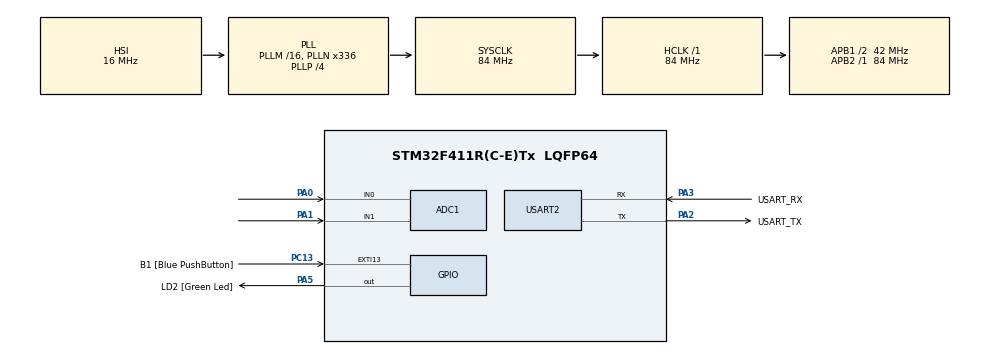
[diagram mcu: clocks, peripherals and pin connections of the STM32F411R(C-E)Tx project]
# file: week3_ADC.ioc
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ADC1.Channel-1\#ChannelRegularConversion=ADC_CHANNEL_0
ADC1.NbrOfConversionFlag=1
ADC1.Rank-1\#ChannelRegularConversion=1
ADC1.SamplingTime-1\#ChannelRegularConversion=ADC_SAMPLETIME_3CYCLES
ADC1.master=1
Mcu.Family=STM32F4
Mcu.Name=STM32F411R(C-E)Tx
Mcu.Package=LQFP64
NVIC.PriorityGroup=NVIC_PRIORITYGROUP_0
PA0-WKUP.Signal=ADCx_IN0
PA1.Signal=ADCx_IN1
PA13.GPIO_Label=TMS
PA13.Mode=Serial_Wire
PA13.Signal=SYS_JTMS-SWDIO
PA14.GPIO_Label=TCK
PA14.Mode=Serial_Wire
PA14.Signal=SYS_JTCK-SWCLK
PA2.GPIO_Label=USART_TX
PA2.Mode=Asynchronous
PA2.Signal=USART2_TX
PA3.GPIO_Label=USART_RX
PA3.Mode=Asynchronous
PA3.Signal=USART2_RX
PA5.GPIO_Label=LD2 [Green Led]
PA5.Signal=GPIO_Output
PB3.GPIO_Label=SWO
PB3.Signal=SYS_JTDO-SWO
PC13-ANTI_TAMP.GPIO_Label=B1 [Blue PushButton]
PC13-ANTI_TAMP.GPIO_ModeDefaultEXTI=GPIO_MODE_IT_FALLING
PC13-ANTI_TAMP.Signal=GPXTI13
PC14-OSC32_IN.Mode=LSE-External-Oscillator
PC14-OSC32_IN.Signal=RCC_OSC32_IN
PC15-OSC32_OUT.Mode=LSE-External-Oscillator
PC15-OSC32_OUT.Signal=RCC_OSC32_OUT
PH0\ -\ OSC_IN.Mode=HSE-External-Clock-Source
PH0\ -\ OSC_IN.Signal=RCC_OSC_IN
PH1\ -\ OSC_OUT.Mode=HSE-External-Clock-Source
PH1\ -\ OSC_OUT.Signal=RCC_OSC_OUT
ProjectManager.HeapSize=0x200
ProjectManager.StackSize=0x400
ProjectManager.TargetToolchain=STM32CubeIDE
RCC.48MHZClocksFreq_Value=84000000
RCC.AHBFreq_Value=84000000
RCC.APB1CLKDivider=RCC_HCLK_DIV2
RCC.APB1Freq_Value=42000000
RCC.APB1TimFreq_Value=84000000
RCC.APB2Freq_Value=84000000
RCC.APB2TimFreq_Value=84000000
RCC.CortexFreq_Value=84000000
RCC.FLatency-AdvancedSettings=FLASH_LATENCY_2
RCC.HCLKFreq_Value=84000000
RCC.HSE_VALUE=8000000
RCC.HSI_VALUE=16000000
RCC.PLLN=336
RCC.PLLP=RCC_PLLP_DIV4
RCC.SYSCLKFreq_VALUE=84000000
RCC.SYSCLKSource=RCC_SYSCLKSOURCE_PLLCLK
RCC.VCOOutputFreq_Value=336000000
SH.ADCx_IN0.0=ADC1_IN0,IN0
SH.ADCx_IN1.0=ADC1_IN1,IN1
USART2.VirtualMode=VM_ASYNC
VP_ADC1_TempSens_Input.Mode=IN-TempSens
board=NUCLEO-F411RE

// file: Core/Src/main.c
/* USER CODE BEGIN Header */
/**
  ******************************************************************************
  * @file           : main.c
  * @brief          : Main program body
  ******************************************************************************
  * @attention
  *
  * <h2><center>&copy; Copyright (c) 2021 STMicroelectronics.
  * All rights reserved.</center></h2>
  *
  * This software component is licensed by ST under BSD 3-Clause license,
  * the "License"; You may not use this file except in compliance with the
  * License. You may obtain a copy of the License at:
  *                        opensource.org/licenses/BSD-3-Clause
  *
  ******************************************************************************
  */
/* USER CODE END Header */
#include "main.h"

ADC_HandleTypeDef hadc1;

UART_HandleTypeDef huart2;

/* USER CODE BEGIN PV */

uint16_t ADCMode = 0,buttonclk[2] = { 0 };
uint32_t ADCOutputConverted = 0;
double Vcc = 3.3;

typedef struct {
	ADC_ChannelConfTypeDef config;
	uint32_t data;

}ADCStructure;

ADCStructure ADCChannel[2] = { 0 };

/* USER CODE END PV */

void SystemClock_Config(void);
static void MX_GPIO_Init(void);
static void MX_USART2_UART_Init(void);
static void MX_ADC1_Init(void);
/* USER CODE BEGIN PFP */

void ADCPollingMethodInit(void);
void ADCPollingMethodUpdate(void);
uint32_t analog_read_to_mv(uint32_t a_input);
uint16_t analog_read_to_celcius(void);

/* USER CODE END PFP */

int main(void)
{

  /* MCU Configuration--------------------------------------------------------*/

  /* Reset of all peripherals, Initializes the Flash interface and the Systick. */
  HAL_Init();

  /* Configure the system clock */
  SystemClock_Config();

  /* Initialize all configured peripherals */
  MX_GPIO_Init();
  MX_USART2_UART_Init();
  MX_ADC1_Init();

  /* Infinite loop */
  /* USER CODE BEGIN WHILE */
  ADCPollingMethodInit();
  while (1)
  {
	  ADCPollingMethodUpdate();

	  buttonclk[0] = HAL_GPIO_ReadPin(GPIOC, GPIO_PIN_13);
	  if(buttonclk[1] == 0 && buttonclk[0] == 1){
		  ADCMode = !ADCMode;
	  }
	  buttonclk[1] = buttonclk[0];

	  if(!ADCMode){
		  ADCOutputConverted = analog_read_to_mv(ADCChannel[0].data);
	  }
	  else{
		  ADCOutputConverted = analog_read_to_celcius();
	  }

    /* USER CODE END WHILE */

  }
}

void SystemClock_Config(void)
{
  RCC_OscInitTypeDef RCC_OscInitStruct = {0};
  RCC_ClkInitTypeDef RCC_ClkInitStruct = {0};

  /** Configure the main internal regulator output voltage
  */
  __HAL_RCC_PWR_CLK_ENABLE();
  __HAL_PWR_VOLTAGESCALING_CONFIG(PWR_REGULATOR_VOLTAGE_SCALE1);
  /** Initializes the RCC Oscillators according to the specified parameters
  * in the RCC_OscInitTypeDef structure.
  */
  RCC_OscInitStruct.OscillatorType = RCC_OSCILLATORTYPE_HSI;
  RCC_OscInitStruct.HSIState = RCC_HSI_ON;
  RCC_OscInitStruct.HSICalibrationValue = RCC_HSICALIBRATION_DEFAULT;
  RCC_OscInitStruct.PLL.PLLState = RCC_PLL_ON;
  RCC_OscInitStruct.PLL.PLLSource = RCC_PLLSOURCE_HSI;
  RCC_OscInitStruct.PLL.PLLM = 16;
  RCC_OscInitStruct.PLL.PLLN = 336;
  RCC_OscInitStruct.PLL.PLLP = RCC_PLLP_DIV4;
  RCC_OscInitStruct.PLL.PLLQ = 4;
  if (HAL_RCC_OscConfig(&RCC_OscInitStruct) != HAL_OK)
  {
    Error_Handler();
  }
  /** Initializes the CPU, AHB and APB buses clocks
  */
  RCC_ClkInitStruct.ClockType = RCC_CLOCKTYPE_HCLK|RCC_CLOCKTYPE_SYSCLK
                              |RCC_CLOCKTYPE_PCLK1|RCC_CLOCKTYPE_PCLK2;
  RCC_ClkInitStruct.SYSCLKSource = RCC_SYSCLKSOURCE_PLLCLK;
  RCC_ClkInitStruct.AHBCLKDivider = RCC_SYSCLK_DIV1;
  RCC_ClkInitStruct.APB1CLKDivider = RCC_HCLK_DIV2;
  RCC_ClkInitStruct.APB2CLKDivider = RCC_HCLK_DIV1;

  if (HAL_RCC_ClockConfig(&RCC_ClkInitStruct, FLASH_LATENCY_2) != HAL_OK)
  {
    Error_Handler();
  }
}

static void MX_ADC1_Init(void)
{

  ADC_ChannelConfTypeDef sConfig = {0};

  /** Configure the global features of the ADC (Clock, Resolution, Data Alignment and number of conversion)
  */
  hadc1.Instance = ADC1;
  hadc1.Init.ClockPrescaler = ADC_CLOCK_SYNC_PCLK_DIV4;
  hadc1.Init.Resolution = ADC_RESOLUTION_12B;
  hadc1.Init.ScanConvMode = DISABLE;
  hadc1.Init.ContinuousConvMode = DISABLE;
  hadc1.Init.DiscontinuousConvMode = DISABLE;
  hadc1.Init.ExternalTrigConvEdge = ADC_EXTERNALTRIGCONVEDGE_NONE;
  hadc1.Init.ExternalTrigConv = ADC_SOFTWARE_START;
  hadc1.Init.DataAlign = ADC_DATAALIGN_RIGHT;
  hadc1.Init.NbrOfConversion = 1;
  hadc1.Init.DMAContinuousRequests = DISABLE;
  hadc1.Init.EOCSelection = ADC_EOC_SINGLE_CONV;
  if (HAL_ADC_Init(&hadc1) != HAL_OK)
  {
    Error_Handler();
  }
  /** Configure for the selected ADC regular channel its corresponding rank in the sequencer and its sample time.
  */
  sConfig.Channel = ADC_CHANNEL_0;
  sConfig.Rank = 1;
  sConfig.SamplingTime = ADC_SAMPLETIME_3CYCLES;
  if (HAL_ADC_ConfigChannel(&hadc1, &sConfig) != HAL_OK)
  {
    Error_Handler();
  }

}

static void MX_USART2_UART_Init(void)
{

  huart2.Instance = USART2;
  huart2.Init.BaudRate = 115200;
  huart2.Init.WordLength = UART_WORDLENGTH_8B;
  huart2.Init.StopBits = UART_STOPBITS_1;
  huart2.Init.Parity = UART_PARITY_NONE;
  huart2.Init.Mode = UART_MODE_TX_RX;
  huart2.Init.HwFlowCtl = UART_HWCONTROL_NONE;
  huart2.Init.OverSampling = UART_OVERSAMPLING_16;
  if (HAL_UART_Init(&huart2) != HAL_OK)
  {
    Error_Handler();
  }

}

static void MX_GPIO_Init(void)
{
  GPIO_InitTypeDef GPIO_InitStruct = {0};

  /* GPIO Ports Clock Enable */
  __HAL_RCC_GPIOC_CLK_ENABLE();
  __HAL_RCC_GPIOH_CLK_ENABLE();
  __HAL_RCC_GPIOA_CLK_ENABLE();
  __HAL_RCC_GPIOB_CLK_ENABLE();

  /*Configure GPIO pin Output Level */
  HAL_GPIO_WritePin(LD2_GPIO_Port, LD2_Pin, GPIO_PIN_RESET);

  /*Configure GPIO pin : B1_Pin */
  GPIO_InitStruct.Pin = B1_Pin;
  GPIO_InitStruct.Mode = GPIO_MODE_IT_FALLING;
  GPIO_InitStruct.Pull = GPIO_NOPULL;
  HAL_GPIO_Init(B1_GPIO_Port, &GPIO_InitStruct);

  /*Configure GPIO pin : LD2_Pin */
  GPIO_InitStruct.Pin = LD2_Pin;
  GPIO_InitStruct.Mode = GPIO_MODE_OUTPUT_PP;
  GPIO_InitStruct.Pull = GPIO_NOPULL;
  GPIO_InitStruct.Speed = GPIO_SPEED_FREQ_LOW;
  HAL_GPIO_Init(LD2_GPIO_Port, &GPIO_InitStruct);

}

/* USER CODE BEGIN 4 */

void ADCPollingMethodInit(){
	ADCChannel[0].config.Channel = ADC_CHANNEL_0;
	ADCChannel[0].config.Rank = 1;
	ADCChannel[0].config.SamplingTime = ADC_SAMPLETIME_3CYCLES;

	ADCChannel[1].config.Channel = ADC_CHANNEL_TEMPSENSOR;
	ADCChannel[1].config.Rank = 1;
	ADCChannel[1].config.SamplingTime = ADC_SAMPLETIME_3CYCLES;

}

void ADCPollingMethodUpdate(){

	HAL_ADC_ConfigChannel(&hadc1, &ADCChannel[ADCMode].config);
	HAL_ADC_Start(&hadc1);
	if(HAL_ADC_PollForConversion(&hadc1, 10) == HAL_OK){
		ADCChannel[ADCMode].data = HAL_ADC_GetValue(&hadc1);
	}
	HAL_ADC_Stop(&hadc1);

}

uint32_t analog_read_to_mv(uint32_t a_input){
	return (uint32_t)((a_input*Vcc)/(double)(1<<12)*1000);
}

uint16_t analog_read_to_celcius(){
	return (uint16_t)((((analog_read_to_mv(ADCChannel[1].data))-(0.76*1000))/(2.5))+25);
}

/* USER CODE END 4 */

void Error_Handler(void)
{
  __disable_irq();
  while (1)
  {
  }
}

/************************ (C) COPYRIGHT STMicroelectronics *****END OF FILE****/
